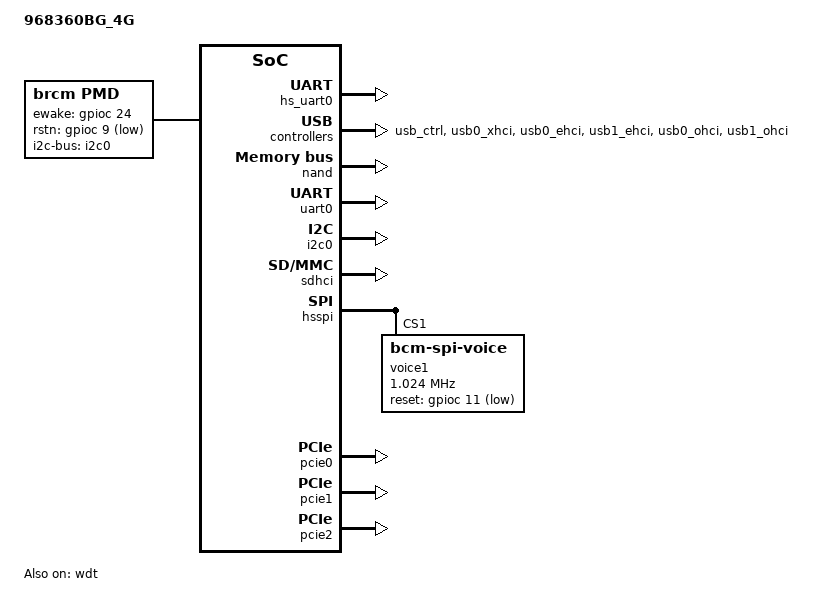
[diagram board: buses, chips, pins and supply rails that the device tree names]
#include "inc/68360.dtsi"

/ {
    memory_controller {
        memcfg = <(BP_DDR_SPEED_800_11_11_11  | \
                   BP_DDR_TOTAL_SIZE_512MB    | \
                   BP_DDR_DEVICE_WIDTH_16     | \
                   BP_DDR_TOTAL_WIDTH_16BIT   | \
                   BP_DDR_SSC_CONFIG_1)>;
    };
};

/ {
    model = "968360BG_4G";

    wan_serdes {
            compatible = "brcm,pon-drv";
            trx = <&pmd>;
            tx-polarity-invert;
            pon-led = <&led20>;
            alarm-led = <&led0>;
    };

    pmd: pmd {
            compatible = "brcm,pmd";
            pinctrl-names = "default", "state_ewake";
            pinctrl-0 = <&pon_lbe_p_pin_22>;
            pinctrl-1 = <&pon_lbe_p_pin_22 &early_txen_pin_24>;
            ewake-gpio = <&gpioc 24 GPIO_ACTIVE_HIGH>;
            rstn-gpio = <&gpioc 9 GPIO_ACTIVE_LOW>;
            alarm = <&bca_extintr 10 GPIO_ACTIVE_HIGH (BCA_EXTINTR_TYPE_HIGH_LEVEL | BCA_EXTINTR_TYPE_SENSE_EDGE)>;
            apd-boost;
            i2c-bus = <&i2c0>;
    };

    buttons {
        compatible = "brcm,buttons";
        reset_button {
            ext_irq = <&bca_extintr 82 BCA_GPIO_ACTIVE_LOW (BCA_EXTINTR_TYPE_LOW_LEVEL | BCA_EXTINTR_TYPE_SENSE_EDGE)>;
            press {
                print = "Button Press -- Hold for 5s to do restore to default";
   	 };
            hold {
                rst_to_dflt = <5>;
            };
            release {
                reset = <0>;
            };	
        };
        ses_button {
            ext_irq = <&bca_extintr 83 BCA_GPIO_ACTIVE_LOW (BCA_EXTINTR_TYPE_LOW_LEVEL | BCA_EXTINTR_TYPE_SENSE_EDGE)>;
            release {
                ses_short_period = <0>;
                ses_long_period = <3>;
            };
        };
    };
};

&hs_uart0 {
    pinctrl-0 = <&d_uart2_sin_pin_7 &a_uart2_sout_pin_25>;
	status = "okay";
};

&mdio {
        phy1:1 {
                status = "okay";
        };

        phy2:2 {
                status = "okay";
        };

        phy3:3 {
                status = "okay";
        };

        phy4:4 {
                status = "okay";
        };
};

&switch0 {
        ports {
                port0@0 {
                        network-leds = <&led3 &led4>;
                        status = "okay";
                };

                port1@1 {
                        network-leds = <&led5 &led6>;
                        status = "okay";
                };

                port2@2 {
                        network-leds = <&led7 &led8>;
                        status = "okay";
                };

                port3@3 {
                        network-leds = <&led9 &led10>;
                        status = "okay";
                };
        };
};

&led_ctrl {
    pinctrl-names = "default";
    pinctrl-0 = <&ser_led_clk_pin_27 &ser_led_data_pin_26 &ser_led_mask_pin_28>;
    serial-shifters-installed = <3>;

    led0: sw_led-bit_0 {
              active_low; 
              label = "OpticalLinkFail";
              status = "okay";
          };
    led1: sw_led-bit_1 {
              active_low; 
              label = "WAN";
              status = "okay";
          };
    led2: sw_led-bit_2 {
              active_low; 
              label = "WiFi";
              status = "okay";
          };
    led3: port_0-led_0-bit_3 {
              active_low;
              link = <LED_SPEED_GBE>;
              status = "okay";
          };
    led4: port_0-led_1-bit_4 {
              active_low;
              activity = <LED_SPEED_GBE>;
              status = "okay";
          };
    led5: port_1-led_0-bit_5 {
              active_low;
              link = <LED_SPEED_GBE>;
              status = "okay";
          };
    led6: port_1-led_1-bit_6 {
              active_low;
              activity = <LED_SPEED_GBE>;
              status = "okay";
          };
    led7: port_2-led_0-bit_7 {
              active_low;
              link = <LED_SPEED_GBE>;
              status = "okay";
          };
    led8: port_2-led_1-bit_8 {
              active_low;
              activity = <LED_SPEED_GBE>;
              status = "okay";
          };
    led9: port_3-led_0-bit_9 {
              active_low;
              link = <LED_SPEED_GBE>;
              status = "okay";
          };
    led10: port_3-led_1-bit_10 {
              active_low;
              activity = <LED_SPEED_GBE>;
              status = "okay";
          };
    led11: sw_led-bit_11 {
              active_low;
              status = "okay";
          };
    led12: sw_led-bit_12 {
              active_low;
              status = "okay";
          };
    led13: sw_led-bit_13 {
              active_low;
              status = "okay";
          };
    led14: sw_led-bit_14 {
              active_low;
              status = "okay";
          };
    led15: sw_led-bit_15 {
              active_low; 
              label = "USB_1";
              status = "okay";
          };
    led16: sw_led-bit_16 {
              active_low; 
              label = "VOIP_1";
              status = "okay";
          };
    led17: sw_led-bit_17 {
              active_low; 
              label = "VOIP_2";
              status = "okay";
          };
    led18: sw_led-bit_18 {
              active_low; 
              status = "okay";
          };
    led19: sw_led-bit_19 {
              active_low; 
              status = "okay";
          };
    led20: sw_led-bit_20 {
              active_low; 
              label = "PON";
              status = "okay";
          };
    led21: sw_led-bit_21 {
              active_low; 
              label = "USB_2";
              status = "okay";
          };
};

&legacy_leds {
    wan-data-led = <&led1>;
    voip1-ok-led = <&led16>;
    voip2-ok-led = <&led17>;
    usb-led = <&led15>;
    wl-sess-led = <&led2>;
};

&usb_ctrl {
    xhci-enable;
	status = "okay";
    pinctrl-names = "default";
    pinctrl-0 = <&usb0_pwr_pins &usb1_pwr_pins>;
};
&usb0_xhci {
    status = "okay";
};
&usb0_ehci {
	status = "okay";
};
&usb1_ehci {
	status = "okay";
};
&usb0_ohci {
	status = "okay";
};
&usb1_ohci {
	status = "okay";
};
&nand {
	status = "okay";
};

&uart0 {
	status = "okay";
};
&wdt {
	status = "okay";
};
&i2c0 {
    pinctrl-0 = <&i2c_scl_pin_20 &i2c_sda_pin_19>;
    pinctrl-names = "default";
    status = "okay";
};
&sdhci {
	status = "okay";
};
&hsspi {
	status = "okay";

    voice1 {
        pinctrl-0 = <&spim_ss1_b_pin_81>;
        pinctrl-names = "default";
        compatible = "bcm-spi-voice";
        reg = <1>; /* chip select 1 */
        spi-max-frequency = <1024000>;
        reset-gpio = <&gpioc 11 GPIO_ACTIVE_LOW>;
    };
};

&pcie0 {
	status = "okay";
};
&pcie1 {
	status = "okay";
};
&pcie2 {
	status = "okay";
};

